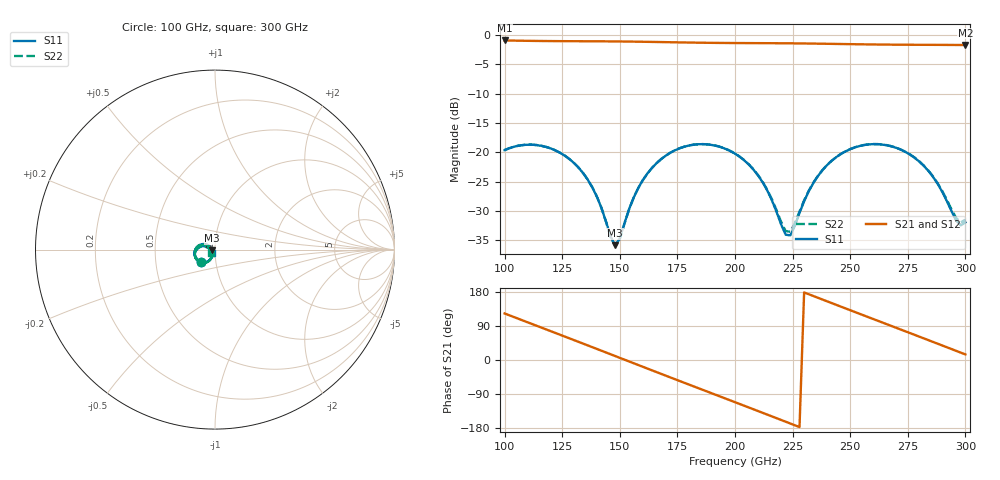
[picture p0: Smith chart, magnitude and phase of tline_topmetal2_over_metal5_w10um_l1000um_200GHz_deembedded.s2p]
! Created with skrf 2.2.0 (http://scikit-rf.org).
# GHz S DB R 50.0
! Port[1] = P1
! Port[2] = P2
!freq dBS11 angS11 dBS21 angS21 dBS12 angS12 dBS22 angS22
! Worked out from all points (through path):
!   101 points, 100 GHz to 300 GHz, reference 50 ohm
!   highest |S21| = -0.93 dB at 100 GHz (marker M1); lowest = -1.7 dB at 300 GHz (marker M2)
!   group delay of S21, straight-line fit = 6.5 ps
!   lowest |S11| = -35.9 dB at 148 GHz (marker M3), VSWR 1.03, Z = 48.5 - j0.406 ohm
!   |S11| at or under -10 dB: start of sweep to end of sweep
!   |S22| runs from -36.0 to -18.6 dB; largest |S21 - S12| = 1.5e-13
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100  -19.62 -140.4  -0.93 122.8  -0.93 122.8  -19.62 -139.8
108  -18.76 -157.2  -0.98 104.1  -0.98 104.1  -18.75 -156.7
116  -18.90 -174.0  -1.02 85.5  -1.02 85.5  -18.89 -173.5
124  -20.06 169.8  -1.04 66.8  -1.04 66.8  -20.05 170.3
134  -23.51 152.5  -1.06 43.4  -1.06 43.4  -23.50 152.9
140  -27.52 147.7  -1.07 29.3  -1.07 29.3  -27.51 147.9
148  -35.87 -164.9  -1.09 10.4  -1.09 10.4  -36.00 -164.6
158  -26.09 -113.7  -1.14 -13.2  -1.14 -13.2  -26.11 -112.7
168  -21.14 -127.2  -1.20 -36.7  -1.20 -36.7  -21.14 -126.3
184  -18.63 -158.1  -1.31 -74.1  -1.31 -74.1  -18.62 -157.1
200  -20.23 170.9  -1.37 -111.3  -1.37 -111.3  -20.20 172.3
212  -25.11 154.1  -1.39 -139.4  -1.39 -139.4  -25.02 156.1
222  -34.05 -173.3  -1.41 -162.9  -1.41 -162.9  -33.43 -171.8
224  -34.16 -149.0  -1.42 -167.6  -1.42 -167.6  -33.54 -149.5
234  -25.24 -113.9  -1.46 168.9  -1.46 168.9  -25.17 -114.6
242  -21.44 -123.5  -1.51 150.1  -1.51 150.1  -21.41 -123.5
252  -19.17 -141.1  -1.57 126.7  -1.57 126.7  -19.15 -140.7
268  -18.99 -171.1  -1.64 89.6  -1.64 89.6  -18.97 -170.3
282  -22.34 166.2  -1.67 56.9  -1.67 56.9  -22.28 167.6
288  -25.40 161.9  -1.68 42.9  -1.68 42.9  -25.29 163.6
296  -31.63 -175.9  -1.70 24.1  -1.70 24.1  -31.21 -174.2
300  -31.94 -140.2  -1.71 14.7  -1.71 14.7  -31.49 -140.7
